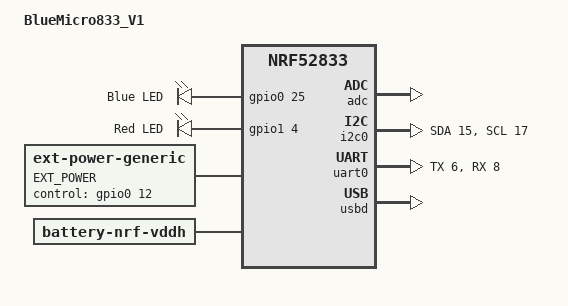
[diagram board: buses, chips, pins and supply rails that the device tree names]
/*
 * Copyright (c) 2020 Pete Johanson, Derek Schmell
 *
 * SPDX-License-Identifier: MIT
 */

/dts-v1/;
#include <nordic/nrf52833_qiaa.dtsi>
#include "arduino_pro_micro_pins.dtsi"

/ {
	model = "BlueMicro833_V1";
	compatible = "bluemicro833,v1";

	chosen {
		zephyr,code-partition = &code_partition;
		zephyr,sram = &sram0;
		zephyr,flash = &flash0;
	};

	leds {
		compatible = "gpio-leds";
		blue_led: led_0 {
			gpios = <&gpio0 25 GPIO_ACTIVE_HIGH>;
			label = "Blue LED";
		};
		red_led: led_1 {
			gpios = <&gpio1 4 GPIO_ACTIVE_HIGH>;
			label = "Red LED";
		};
	};

	ext-power {
		compatible = "zmk,ext-power-generic";
		label = "EXT_POWER";
		init-delay-ms = <20>;
		control-gpios = <&gpio0 12 GPIO_ACTIVE_HIGH>;
	};

	vbatt {
		compatible = "zmk,battery-nrf-vddh";
		label = "BATTERY";
	};

};

&adc {
	status = "okay";
};

&gpiote {
	status = "okay";
};

&gpio0 {
	status = "okay";
};

&gpio1 {
	status = "okay";
};

&i2c0 {
	compatible = "nordic,nrf-twi";
	sda-pin = <15>;
	scl-pin = <17>;
};

&uart0 {
	compatible = "nordic,nrf-uarte";
	tx-pin = <6>;
	rx-pin = <8>;
};

&usbd {
	status = "okay";
};


&flash0 {
	/*
	 * For more information, see:
	 * http://docs.zephyrproject.org/latest/devices/dts/flash_partitions.html
	 */
	partitions {
		compatible = "fixed-partitions";
		#address-cells = <1>;
		#size-cells = <1>;

		sd_partition: partition@0 {
			label = "softdevice";
			reg = <0x00000000 0x00026000>;
		};
		code_partition: partition@26000 {
			label = "code_partition";
			reg = <0x00026000 0x00046000>;
		};

		/*
		 * The flash starting at 0x0006c000 and ending at
		 * 0x00073fff is reserved for use by the application.
		 */

		/*
		 * Storage partition will be used by FCB/LittleFS/NVS
		 * if enabled.
		 */
		storage_partition: partition@6c000 {
			label = "storage";
			reg = <0x0006c000 0x00008000>;
		};

		boot_partition: partition@74000 {
			label = "adafruit_boot";
			reg = <0x00074000 0x0000c000>;
		};
	};
};
